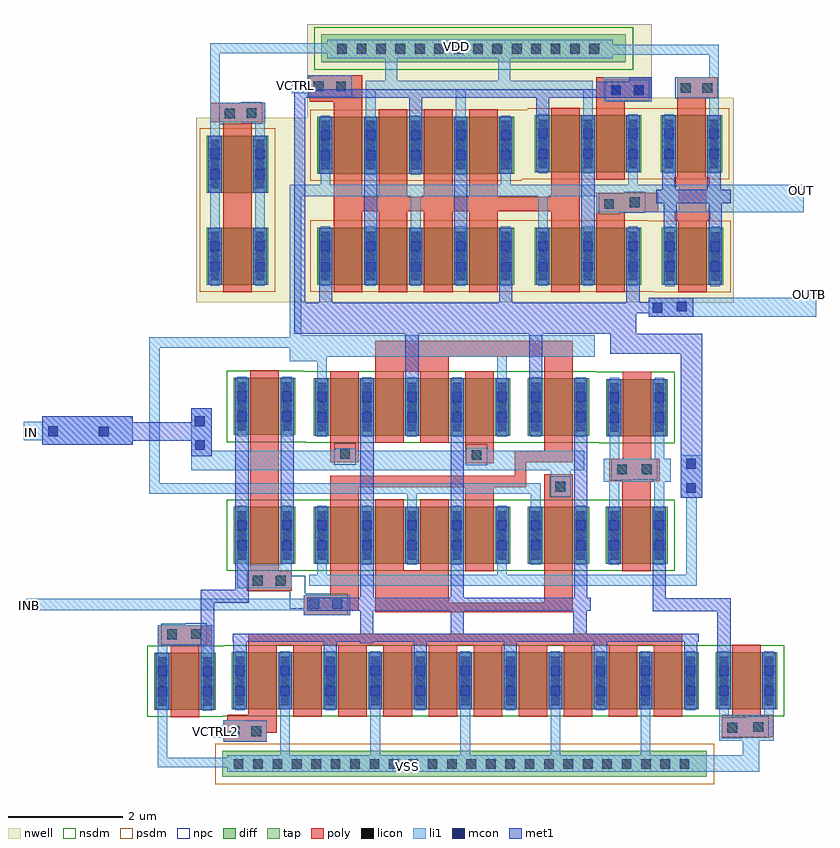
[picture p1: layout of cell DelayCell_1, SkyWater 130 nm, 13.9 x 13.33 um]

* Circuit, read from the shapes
.subckt DelayCell_1 IN INB OUT OUTB VCTRL VCTRL2 VDD VSS
XM1 VSS VSS VSS VSS sky130_fd_pr__nfet_01v8 w=1 l=0.5 m=6
XM2 VSS VCTRL2 n1 VSS sky130_fd_pr__nfet_01v8 w=1 l=0.5 m=10
XM3 n1 INB OUTB VSS sky130_fd_pr__nfet_01v8 w=1 l=0.5 m=5
XM4 n1 IN OUT VSS sky130_fd_pr__nfet_01v8 w=1 l=0.5 m=5
XM5 VDD VDD VDD VDD sky130_fd_pr__pfet_01v8 w=1 l=0.5 m=4
XM6 VDD VCTRL OUTB VDD sky130_fd_pr__pfet_01v8 w=1 l=0.5 m=5
XM7 VDD VCTRL OUT VDD sky130_fd_pr__pfet_01v8 w=1 l=0.5 m=5
XM8 OUTB OUT VDD VDD sky130_fd_pr__pfet_01v8 w=1 l=0.5
XM9 OUT OUTB VDD VDD sky130_fd_pr__pfet_01v8 w=1 l=0.5
.ends

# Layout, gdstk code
import gdstk
lib = gdstk.Library(unit=1e-6, precision=1e-09)
def R(c, l, rs):  # rectangles x0, y0, x1, y1
    for r in rs: c.add(gdstk.rectangle(r[:2], r[2:], *l))
def A(c, l, x, y, w, h, nx, ny, dx, dy):  # array of equal rectangles
    R(c, l, [(x+i*dx, y+j*dy, x+i*dx+w, y+j*dy+h) for i in range(nx) for j in range(ny)])
nwell = (64, 20)
diff = (65, 20)
tap = (65, 44)
poly = (66, 20)
licon = (66, 44)
li1 = (67, 20)
mcon = (67, 44)
met1 = (68, 20)
nsdm = (93, 44)
psdm = (94, 20)
npc = (95, 20)

sky130_fd_pr__nfet_01v8_ = lib.new_cell('sky130_fd_pr__nfet_01v8_QAG9NA')
R(sky130_fd_pr__nfet_01v8_, diff, [(-0.54,-0.5,0.54,0.5)])
R(sky130_fd_pr__nfet_01v8_, poly, [(-0.25,-0.63,0.25,0.63)])
A(sky130_fd_pr__nfet_01v8_, licon, -0.48, -0.425, 0.17, 0.17, 1, 3, 0, 0.34)
A(sky130_fd_pr__nfet_01v8_, licon, 0.31, -0.425, 0.17, 0.17, 1, 3, 0, 0.34)
R(sky130_fd_pr__nfet_01v8_, li1, [(-0.48,-0.52,-0.31,0.52), (0.31,-0.52,0.48,0.52)])
R(sky130_fd_pr__nfet_01v8_, mcon, [(-0.48,-0.265,-0.31,-0.095), (0.31,-0.265,0.48,-0.095), (-0.48,0.095,-0.31,0.265), (0.31,0.095,0.48,0.265)])
R(sky130_fd_pr__nfet_01v8_, met1, [(-0.51,-0.5,-0.28,0.5), (0.28,-0.5,0.51,0.5)])
R(sky130_fd_pr__nfet_01v8_, nsdm, [(-0.665,-0.625,0.665,0.625)])

c_sky130_fd_pr__nfet_01v8_ = lib.new_cell('sky130_fd_pr__nfet_01v8_N7QDUL')
R(c_sky130_fd_pr__nfet_01v8_, diff, [(-4.095,-0.5,4.095,0.5)])
A(c_sky130_fd_pr__nfet_01v8_, poly, -3.805, -0.63, 0.5, 1.26, 10, 1, 0.79, 0)
A(c_sky130_fd_pr__nfet_01v8_, licon, -4.035, -0.425, 0.17, 0.17, 11, 3, 0.79, 0.34)
A(c_sky130_fd_pr__nfet_01v8_, li1, -4.035, -0.52, 0.17, 1.04, 11, 1, 0.79, 0)
A(c_sky130_fd_pr__nfet_01v8_, mcon, -4.035, -0.265, 0.17, 0.17, 11, 2, 0.79, 0.36)
A(c_sky130_fd_pr__nfet_01v8_, met1, -4.065, -0.5, 0.23, 1, 11, 1, 0.79, 0)
R(c_sky130_fd_pr__nfet_01v8_, nsdm, [(-4.22,-0.625,4.22,0.625)])

c_sky130_fd_pr__nfet_01v8__ = lib.new_cell('sky130_fd_pr__nfet_01v8_SMD9NL')
R(c_sky130_fd_pr__nfet_01v8__, diff, [(-1.725,-0.5,1.725,0.5)])
A(c_sky130_fd_pr__nfet_01v8__, poly, -1.435, -0.63, 0.5, 1.26, 4, 1, 0.79, 0)
A(c_sky130_fd_pr__nfet_01v8__, licon, -1.665, -0.425, 0.17, 0.17, 5, 3, 0.79, 0.34)
A(c_sky130_fd_pr__nfet_01v8__, li1, -1.665, -0.52, 0.17, 1.04, 5, 1, 0.79, 0)
A(c_sky130_fd_pr__nfet_01v8__, mcon, -1.665, -0.265, 0.17, 0.17, 5, 2, 0.79, 0.36)
A(c_sky130_fd_pr__nfet_01v8__, met1, -1.695, -0.5, 0.23, 1, 5, 1, 0.79, 0)
R(c_sky130_fd_pr__nfet_01v8__, nsdm, [(-1.85,-0.625,1.85,0.625)])

sky130_fd_pr__pfet_01v8_ = lib.new_cell('sky130_fd_pr__pfet_01v8_ESSCXF')
R(sky130_fd_pr__pfet_01v8_, nwell, [(-1.115,-0.81,1.115,0.81)])
R(sky130_fd_pr__pfet_01v8_, diff, [(-0.935,-0.5,0.935,0.5)])
R(sky130_fd_pr__pfet_01v8_, poly, [(-0.645,-0.63,-0.145,0.63), (0.145,-0.63,0.645,0.63)])
A(sky130_fd_pr__pfet_01v8_, licon, -0.875, -0.425, 0.17, 0.17, 3, 3, 0.79, 0.34)
A(sky130_fd_pr__pfet_01v8_, li1, -0.875, -0.52, 0.17, 1.04, 3, 1, 0.79, 0)
A(sky130_fd_pr__pfet_01v8_, mcon, -0.875, -0.265, 0.17, 0.17, 3, 2, 0.79, 0.36)
A(sky130_fd_pr__pfet_01v8_, met1, -0.905, -0.5, 0.23, 1, 3, 1, 0.79, 0)
R(sky130_fd_pr__pfet_01v8_, psdm, [(-1.06,-0.625,1.06,0.625)])

c_sky130_fd_pr__pfet_01v8_ = lib.new_cell('sky130_fd_pr__pfet_01v8_ES28UG')
R(c_sky130_fd_pr__pfet_01v8_, nwell, [(-1.905,-0.81,1.905,0.81)])
R(c_sky130_fd_pr__pfet_01v8_, diff, [(-1.725,-0.5,1.725,0.5)])
A(c_sky130_fd_pr__pfet_01v8_, poly, -1.435, -0.63, 0.5, 1.26, 4, 1, 0.79, 0)
A(c_sky130_fd_pr__pfet_01v8_, licon, -1.665, -0.425, 0.17, 0.17, 5, 3, 0.79, 0.34)
A(c_sky130_fd_pr__pfet_01v8_, li1, -1.665, -0.52, 0.17, 1.04, 5, 1, 0.79, 0)
A(c_sky130_fd_pr__pfet_01v8_, mcon, -1.665, -0.265, 0.17, 0.17, 5, 2, 0.79, 0.36)
A(c_sky130_fd_pr__pfet_01v8_, met1, -1.695, -0.5, 0.23, 1, 5, 1, 0.79, 0)
R(c_sky130_fd_pr__pfet_01v8_, psdm, [(-1.85,-0.625,1.85,0.625)])

c_sky130_fd_pr__pfet_01v8__ = lib.new_cell('sky130_fd_pr__pfet_01v8_ES6JVF')
R(c_sky130_fd_pr__pfet_01v8__, nwell, [(-0.72,-0.81,0.72,0.81)])
R(c_sky130_fd_pr__pfet_01v8__, diff, [(-0.54,-0.5,0.54,0.5)])
R(c_sky130_fd_pr__pfet_01v8__, poly, [(-0.25,-0.63,0.25,0.63)])
A(c_sky130_fd_pr__pfet_01v8__, licon, -0.48, -0.425, 0.17, 0.17, 1, 3, 0, 0.34)
A(c_sky130_fd_pr__pfet_01v8__, licon, 0.31, -0.425, 0.17, 0.17, 1, 3, 0, 0.34)
R(c_sky130_fd_pr__pfet_01v8__, li1, [(-0.48,-0.52,-0.31,0.52), (0.31,-0.52,0.48,0.52)])
R(c_sky130_fd_pr__pfet_01v8__, mcon, [(-0.48,-0.265,-0.31,-0.095), (0.31,-0.265,0.48,-0.095), (-0.48,0.095,-0.31,0.265), (0.31,0.095,0.48,0.265)])
R(c_sky130_fd_pr__pfet_01v8__, met1, [(-0.51,-0.5,-0.28,0.5), (0.28,-0.5,0.51,0.5)])
R(c_sky130_fd_pr__pfet_01v8__, psdm, [(-0.665,-0.625,0.665,0.625)])

delaycell_1 = lib.new_cell('DelayCell_1')
R(delaycell_1, nwell, [(6.04,-1.95,7.455,-0.33), (-0.505,-1.945,0.005,-0.33), (-1.705,-0.625,-1.7,-0.03), (4.28,-0.54,4.775,-0.33), (1.26,-0.525,1.76,-0.33), (0.47,-0.52,0.97,-0.33), (5.07,-0.515,5.565,-0.33), (2.05,-0.51,2.55,-0.33), (2.84,-0.51,3.34,-0.33), (-0.505,-0.33,7.48,0.025), (-0.505,0.025,0.005,1.29), (0.47,0.025,0.97,0.19), (1.26,0.025,1.76,0.185), (2.05,0.025,2.55,0.2), (2.84,0.025,3.34,0.2), (3.805,0.025,7.48,0.045), (4.28,0.045,4.775,0.22), (5.07,0.045,5.565,0.245), (6.04,0.045,7.48,1.055), (7.455,1.055,7.48,1.645), (5.2,1.57,6.04,1.61), (0,1.61,6.045,2.935)])
R(delaycell_1, tap, [(-1.485,-10.265,7.01,-9.81), (0.25,2.26,5.59,2.755)])
R(delaycell_1, poly, [(-1.47,-9.64,-0.705,-9.495), (7.27,-9.57,8.17,-9.18), (-1.47,-9.495,-0.53,-9.27), (-1.4,-9.27,-0.53,-9.18), (-2.62,-7.965,-1.66,-7.605), (-1.03,-7.96,6.58,-7.755), (-0.06,-7.43,0.76,-7.355), (1.195,-7.38,4.655,-7.215), (-0.06,-7.355,0.905,-7.08), (1.195,-7.215,2.485,-6.64), (4.155,-7.215,4.655,-6.655), (0.405,-7.08,0.905,-6.615), (-1.055,-7.005,-0.265,-6.65), (-0.995,-6.65,-0.495,-6.64), (0.405,-5.545,0.905,-5.19), (2.775,-5.545,3.275,-5.19), (-0.995,-5.43,-0.495,-4.39), (5.53,-5.41,6.03,-5.085), (4.155,-5.405,4.655,-4.96), (0.405,-5.19,3.845,-4.985), (5.3,-5.085,6.185,-4.685), (3.64,-4.985,3.845,-4.75), (2.77,-4.77,3.275,-4.37), (0.405,-4.75,0.905,-4.35), (3.64,-4.75,4.655,-4.545), (5.535,-4.685,6.035,-4.395), (4.155,-4.545,4.655,-4.325), (4.45,-4.325,4.655,-4.315), (1.195,-3.165,2.485,-2.895), (4.155,-3.155,4.655,-2.895), (1.195,-2.895,4.655,-2.62), (4.28,-0.54,4.775,-0.505), (-1.47,-0.525,-0.97,-0.145), (1.26,-0.525,1.76,-0.35), (0.47,-0.52,0.97,-0.35), (5.07,-0.52,5.57,-0.365), (2.05,-0.51,2.55,-0.35), (2.84,-0.51,3.34,-0.35), (6.45,-0.51,7.07,-0.34), (4.28,-0.505,4.78,-0.35), (5.07,-0.365,6.16,-0.02), (0.47,-0.35,4.78,-0.09), (6.515,-0.34,7,0.08), (0.47,-0.09,0.97,0.19), (1.26,-0.09,1.76,0.185), (2.05,-0.09,2.55,0.2), (2.84,-0.09,3.34,0.2), (4.28,-0.09,4.78,0.215), (6.44,0.08,7.06,0.25), (4.28,0.215,4.775,0.22), (-1.47,1.105,-0.97,1.21), (-1.7,1.21,-0.735,1.555), (0.47,1.37,0.97,1.575), (5.07,1.46,5.57,1.57), (6.49,1.465,6.99,1.64), (5.07,1.57,6.04,2), (0.05,1.575,0.97,2.035), (6.49,1.64,7.22,2.005)])
A(delaycell_1, licon, -1.285, -10.125, 0.17, 0.17, 24, 1, 0.34, 0)
A(delaycell_1, licon, 0.53, 2.415, 0.17, 0.17, 14, 1, 0.34, 0)
R(delaycell_1, licon, [(-0.975,-9.55,-0.805,-9.38), (-1.36,-9.545,-1.19,-9.375), (7.37,-9.49,7.54,-9.32), (7.825,-9.475,7.995,-9.305), (-2.455,-7.85,-2.285,-7.68), (-2.03,-7.845,-1.86,-7.675), (0.04,-7.32,0.21,-7.15), (0.445,-7.32,0.615,-7.15), (-0.95,-6.91,-0.78,-6.74), (-0.545,-6.91,-0.375,-6.74), (4.355,-5.265,4.525,-5.095), (5.435,-4.96,5.605,-4.79), (5.87,-4.955,6.04,-4.785), (2.885,-4.705,3.055,-4.535), (0.58,-4.69,0.75,-4.52), (5.21,-0.305,5.38,-0.135), (5.66,-0.275,5.83,-0.105), (-1.44,1.28,-1.27,1.45), (-1.06,1.29,-0.89,1.46), (5.33,1.69,5.5,1.86), (5.73,1.69,5.9,1.86), (6.555,1.73,6.725,1.9), (6.93,1.73,7.1,1.9), (0.51,1.755,0.68,1.925), (0.12,1.76,0.29,1.93)])
A(delaycell_1, li1, 2.69, -9.885, 0.17, 0.8, 3, 1, 1.58, 0)
R(delaycell_1, li1, [(-1.4,-10.175,7.93,-10.1), (-2.62,-10.1,7.93,-9.93), (-2.62,-9.93,-2.45,-9.11), (-1.4,-9.93,7.93,-9.885), (-0.47,-9.885,-0.3,-9.085), (1.11,-9.885,1.28,-9.095), (7.64,-9.885,7.93,-9.635), (-1.47,-9.64,-0.705,-9.58), (7.225,-9.635,8.185,-9.18), (-1.66,-9.58,-0.705,-9.365), (-1.47,-9.365,-0.705,-9.27), (7.225,-9.18,7.395,-9.09), (8.015,-9.18,8.185,-9.09), (-1.83,-8.09,-1.66,-7.965), (-2.62,-8.075,-2.45,-7.965), (-2.62,-7.965,-1.66,-7.605), (-0.06,-7.43,0.76,-7.345), (-4.925,-7.345,0.76,-7.14), (-0.06,-7.14,0.76,-7.08), (-1.225,-6.96,-0.265,-6.545), (0.04,-6.91,6.83,-6.725), (0.175,-6.725,0.345,-6.535), (3.335,-6.725,3.505,-6.545), (6.645,-6.725,6.83,-5.37), (-0.435,-6.545,-0.265,-6.53), (3.925,-5.59,4.095,-5.3), (1.755,-5.52,1.925,-5.3), (6.09,-5.52,6.26,-5.09), (5.3,-5.515,5.47,-5.09), (6.55,-5.37,6.925,-4.63), (4.275,-5.355,4.62,-4.885), (-2.77,-5.3,4.095,-5.115), (-2.77,-5.115,-2.58,-2.745), (5.2,-5.09,6.375,-4.685), (-2.03,-4.885,4.86,-4.55), (5.305,-4.685,5.475,-4.31), (6.095,-4.685,6.265,-4.3), (-2.03,-4.55,-1.67,-3.8), (0.49,-4.55,0.845,-4.5), (2.79,-4.55,3.18,-4.495), (-4.645,-4.445,-3.055,-4.36), (-4.97,-4.36,-3.055,-4.035), (-4.645,-4.035,-3.055,-3.945), (3.335,-3.27,3.505,-2.9), (0.175,-3.26,0.345,-2.98), (-0.305,-2.98,0.345,-2.9), (-0.305,-2.9,5.045,-2.745), (-2.77,-2.745,5.045,-2.555), (-0.305,-2.555,5.045,-2.525), (-0.305,-2.525,-0.1,-0.085), (5.995,-2.195,8.93,-1.865), (8.725,-1.865,8.93,-1.75), (1.82,-0.63,1.99,-0.085), (-1.7,-0.625,-1.53,-0.03), (4.05,-0.625,4.22,-0.085), (-0.91,-0.62,-0.74,-0.035), (5.07,-0.365,8.71,-0.085), (-0.305,-0.085,8.71,0.12), (0.24,0.12,0.41,0.3), (3.4,0.12,3.57,0.305), (5.63,0.12,5.8,0.325), (-1.7,0.98,-1.53,1.21), (-0.91,1,-0.74,1.21), (-1.7,1.21,-0.735,1.555), (4.84,1.31,5.01,1.77), (1.03,1.32,1.2,1.77), (2.61,1.32,2.78,1.77), (7.05,1.345,7.22,1.64), (-1.7,1.555,-1.53,2.425), (5.2,1.57,6.04,2), (6.49,1.64,7.22,2.005), (0.01,1.65,0.79,1.725), (-0.265,1.725,0.79,1.92), (1.03,1.77,5.01,1.94), (0.01,1.92,0.79,2.035), (1.375,1.94,1.58,2.335), (3.355,1.94,3.56,2.335), (7.05,2.005,7.22,2.4), (0.355,2.335,5.36,2.4), (0.355,2.4,7.22,2.425), (-1.7,2.425,7.22,2.57), (-1.7,2.57,5.36,2.595), (0.355,2.595,5.36,2.66)])
R(delaycell_1, mcon, [(6.645,-5.285,6.815,-5.115), (6.645,-4.86,6.815,-4.69), (-1.96,-4.53,-1.79,-4.36), (-3.65,-4.295,-3.48,-4.125), (-4.54,-4.29,-4.37,-4.12), (-1.965,-4.115,-1.795,-3.945), (6.06,-2.125,6.23,-1.955), (6.485,-2.105,6.655,-1.935), (5.33,1.69,5.5,1.86), (5.73,1.69,5.9,1.86)])
A(delaycell_1, met1, 3.45, -8.085, 0.23, 0.185, 3, 1, 1.58, 0)
R(delaycell_1, met1, [(-1.86,-8.095,-1.63,-7.215), (7.195,-8.095,7.425,-7.36), (-1.29,-8.085,-1.06,-7.9), (0.29,-8.085,0.52,-7.9), (1.87,-8.08,2.1,-7.9), (0.93,-7.92,1.16,-7.9), (-1.305,-7.9,6.87,-7.755), (0.93,-7.755,1.16,-7.355), (2.515,-7.755,2.745,-7.355), (4.67,-7.755,4.9,-7.355), (6.06,-7.36,7.425,-7.13), (0.005,-7.355,4.975,-7.125), (-1.86,-7.215,-1.025,-6.985), (6.06,-7.13,6.29,-6.5), (0.935,-7.125,1.165,-6.51), (2.515,-7.125,2.745,-6.495), (4.685,-7.125,4.915,-6.49), (-1.255,-6.985,-1.025,-6.495), (-1.255,-5.545,-1.025,-4.25), (-0.465,-5.535,-0.235,-4.155), (0.935,-5.53,1.165,-4.28), (2.515,-5.53,2.745,-4.28), (4.685,-5.53,4.915,-4.28), (6.55,-5.37,6.925,-2.845), (-2.03,-4.645,-1.67,-4.37), (-4.645,-4.445,-3.055,-4.37), (-4.645,-4.37,-1.67,-4.045), (-4.645,-4.045,-3.055,-3.945), (-2.03,-4.045,-1.67,-3.8), (1.725,-3.29,1.955,-2.495), (3.895,-3.28,4.125,-2.495), (5.315,-2.845,6.925,-2.495), (-0.225,-2.495,5.775,-2.135), (5.995,-2.195,6.77,-2.135), (-0.225,-2.135,6.77,-1.95), (-0.225,-1.95,-0.035,1.645), (0.21,-1.95,0.44,-1.525), (3.37,-1.95,3.6,-1.615), (5.6,-1.95,6.77,-1.94), (5.6,-1.94,5.83,-1.625), (5.995,-1.94,6.77,-1.865), (7.04,-0.645,7.27,-0.205), (1,-0.64,1.23,0.325), (2.58,-0.64,2.81,0.325), (4.81,-0.64,5.04,0.465), (6.25,-0.64,6.48,-0.205), (6.125,-0.205,7.425,0.025), (6.23,0.025,6.46,0.34), (7.02,0.025,7.25,0.34), (1.79,1.305,2.02,1.645), (4.02,1.33,4.25,1.645), (-0.225,1.645,6.04,1.79), (5.07,1.79,6.04,1.92), (5.65,1.92,6.04,2)])
R(delaycell_1, nsdm, [(-1.475,-9.205,-1.445,-7.965), (6.995,-9.205,7.04,-7.955), (-0.08,-6.655,-0.01,-5.405), (3.69,-6.655,3.74,-5.405), (5.07,-6.655,5.115,-5.405), (3.69,-4.405,3.74,-3.155), (5.07,-4.405,5.12,-3.165), (-0.08,-4.395,-0.01,-3.155), (0.125,2.135,5.715,2.88)])
R(delaycell_1, psdm, [(-1.61,-10.39,7.135,-9.685), (3.755,-1.76,3.865,-0.51), (5.985,-1.76,6.095,-0.515), (-1.885,-0.51,-0.555,-0.145), (3.755,0.21,3.865,1.435), (5.985,0.21,6.075,1.46)])
R(delaycell_1, npc, [(-1.075,-9.65,-0.705,-9.645), (-1.46,-9.645,-0.705,-9.28), (7.27,-9.59,7.64,-9.575), (7.27,-9.575,8.095,-9.22), (-1.46,-9.28,-1.09,-9.275), (7.725,-9.22,8.095,-9.205), (-2.555,-7.95,-2.185,-7.945), (-2.555,-7.945,-1.76,-7.58), (-2.13,-7.58,-1.76,-7.575), (-0.06,-7.42,0.715,-7.32), (-0.305,-7.32,0.715,-7.05), (-0.305,-7.05,-0.03,-7.01), (-1.05,-7.01,-0.03,-6.74), (-1.05,-6.74,-0.275,-6.64), (4.255,-5.365,4.625,-4.995), (5.335,-5.06,5.705,-5.055), (5.335,-5.055,6.14,-4.69), (2.785,-4.805,3.155,-4.435), (0.48,-4.79,0.85,-4.42), (5.77,-4.69,6.14,-4.685), (5.11,-0.405,5.48,-0.375), (5.11,-0.375,5.93,-0.035), (5.56,-0.035,5.93,-0.005), (-1.54,1.18,-1.17,1.19), (-1.54,1.19,-0.79,1.55), (-1.16,1.55,-0.79,1.56), (5.23,1.59,6,1.96), (6.455,1.63,7.2,2), (0.41,1.655,0.78,1.66), (0.02,1.66,0.78,2.025), (0.02,2.025,0.39,2.03)])
delaycell_1.add(gdstk.Reference(sky130_fd_pr__nfet_01v8_, (-2.14,-8.59)))
delaycell_1.add(gdstk.Reference(sky130_fd_pr__nfet_01v8_, (7.705,-8.58)))
delaycell_1.add(gdstk.Reference(c_sky130_fd_pr__nfet_01v8_, (2.775,-8.58)))
delaycell_1.add(gdstk.Reference(c_sky130_fd_pr__nfet_01v8__, (1.84,-6.03)))
delaycell_1.add(gdstk.Reference(sky130_fd_pr__nfet_01v8_, (-0.745,-6.03)))
delaycell_1.add(gdstk.Reference(sky130_fd_pr__nfet_01v8_, (5.78,-6.03)))
delaycell_1.add(gdstk.Reference(sky130_fd_pr__nfet_01v8_, (4.405,-6.03)))
delaycell_1.add(gdstk.Reference(c_sky130_fd_pr__nfet_01v8__, (1.84,-3.78)))
delaycell_1.add(gdstk.Reference(sky130_fd_pr__nfet_01v8_, (-0.745,-3.77)))
delaycell_1.add(gdstk.Reference(sky130_fd_pr__nfet_01v8_, (5.785,-3.79)))
delaycell_1.add(gdstk.Reference(sky130_fd_pr__nfet_01v8_, (4.405,-3.78)))
delaycell_1.add(gdstk.Reference(sky130_fd_pr__pfet_01v8_, (4.925,-1.135)))
delaycell_1.add(gdstk.Reference(c_sky130_fd_pr__pfet_01v8_, (1.905,-1.135)))
delaycell_1.add(gdstk.Reference(c_sky130_fd_pr__pfet_01v8__, (6.76,-1.14)))
delaycell_1.add(gdstk.Reference(c_sky130_fd_pr__pfet_01v8__, (-1.22,-1.135)))
delaycell_1.add(gdstk.Reference(sky130_fd_pr__pfet_01v8_, (4.925,0.835)))
delaycell_1.add(gdstk.Reference(c_sky130_fd_pr__pfet_01v8_, (1.905,0.81)))
delaycell_1.add(gdstk.Reference(c_sky130_fd_pr__pfet_01v8__, (-1.22,0.48)))
delaycell_1.add(gdstk.Reference(c_sky130_fd_pr__pfet_01v8__, (6.74,0.835)))
delaycell_1.add(gdstk.Label('OUT', (8.675,0.015), layer=67, texttype=5))
delaycell_1.add(gdstk.Label('OUTB', (8.81,-1.8), layer=67, texttype=5))
delaycell_1.add(gdstk.Label('INB', (-4.86,-7.26), layer=67, texttype=5))
delaycell_1.add(gdstk.Label('VSS', (1.755,-10.085), layer=67, texttype=5))
delaycell_1.add(gdstk.Label('VCTRL2', (-1.61,-9.47), layer=67, texttype=5))
delaycell_1.add(gdstk.Label('VDD', (2.615,2.545), layer=67, texttype=5))
delaycell_1.add(gdstk.Label('VCTRL', (-0.205,1.85), layer=67, texttype=5))
delaycell_1.add(gdstk.Label('IN', (-4.83,-4.225), layer=67, texttype=5))

lib.write_gds('DelayCell_1.gds')
